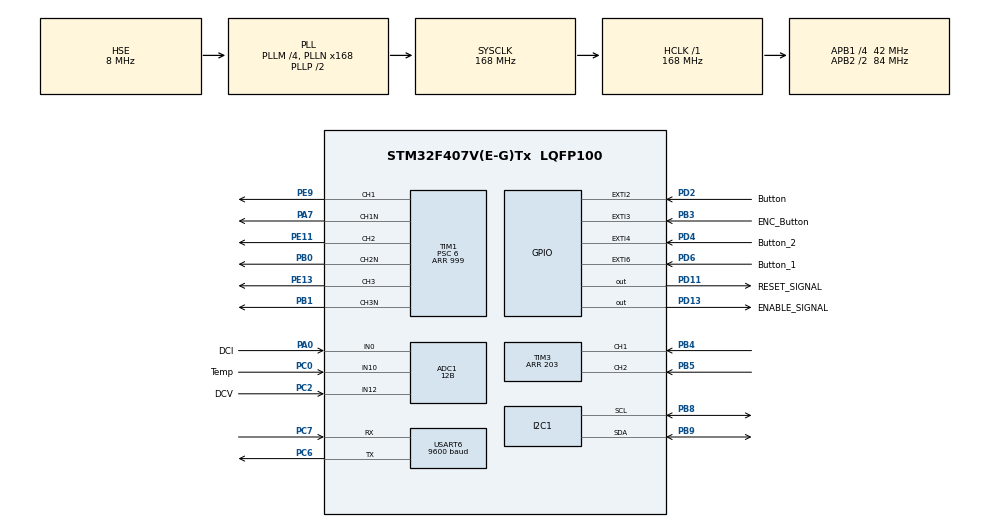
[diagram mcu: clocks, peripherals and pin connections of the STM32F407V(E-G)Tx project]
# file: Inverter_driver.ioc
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ADC1.Channel-0\#ChannelRegularConversion=ADC_CHANNEL_0
ADC1.Channel-1\#ChannelRegularConversion=ADC_CHANNEL_10
ADC1.Channel-2\#ChannelRegularConversion=ADC_CHANNEL_12
ADC1.ClockPrescaler=ADC_CLOCK_SYNC_PCLK_DIV8
ADC1.ContinuousConvMode=ENABLE
ADC1.DMAContinuousRequests=ENABLE
ADC1.DataAlign=ADC_DATAALIGN_RIGHT
ADC1.DiscontinuousConvMode=DISABLE
ADC1.EOCSelection=ADC_EOC_SEQ_CONV
ADC1.EnableAnalogWatchDog=false
ADC1.ExternalTrigConv=ADC_SOFTWARE_START
ADC1.ExternalTrigConvEdge=ADC_EXTERNALTRIGCONVEDGE_NONE
ADC1.InjNumberOfConversion=0
ADC1.NbrOfConversion=3
ADC1.NbrOfConversionFlag=1
ADC1.Rank-0\#ChannelRegularConversion=1
ADC1.Rank-1\#ChannelRegularConversion=2
ADC1.Rank-2\#ChannelRegularConversion=3
ADC1.Resolution=ADC_RESOLUTION_12B
ADC1.SamplingTime-0\#ChannelRegularConversion=ADC_SAMPLETIME_480CYCLES
ADC1.SamplingTime-1\#ChannelRegularConversion=ADC_SAMPLETIME_480CYCLES
ADC1.SamplingTime-2\#ChannelRegularConversion=ADC_SAMPLETIME_480CYCLES
ADC1.ScanConvMode=ENABLE
ADC1.master=1
Dma.ADC1.0.Direction=DMA_PERIPH_TO_MEMORY
Dma.ADC1.0.FIFOMode=DMA_FIFOMODE_DISABLE
Dma.ADC1.0.Instance=DMA2_Stream0
Dma.ADC1.0.MemDataAlignment=DMA_MDATAALIGN_HALFWORD
Dma.ADC1.0.MemInc=DMA_MINC_ENABLE
Dma.ADC1.0.Mode=DMA_CIRCULAR
Dma.ADC1.0.PeriphDataAlignment=DMA_PDATAALIGN_HALFWORD
Dma.ADC1.0.PeriphInc=DMA_PINC_DISABLE
Dma.ADC1.0.Priority=DMA_PRIORITY_LOW
Dma.Request0=ADC1
Dma.Request1=USART6_TX
Dma.Request2=USART6_RX
Dma.USART6_RX.2.Direction=DMA_PERIPH_TO_MEMORY
Dma.USART6_RX.2.FIFOMode=DMA_FIFOMODE_DISABLE
Dma.USART6_RX.2.Instance=DMA2_Stream1
Dma.USART6_RX.2.MemDataAlignment=DMA_MDATAALIGN_BYTE
Dma.USART6_RX.2.MemInc=DMA_MINC_ENABLE
Dma.USART6_RX.2.Mode=DMA_NORMAL
Dma.USART6_RX.2.PeriphDataAlignment=DMA_PDATAALIGN_BYTE
Dma.USART6_RX.2.PeriphInc=DMA_PINC_DISABLE
Dma.USART6_RX.2.Priority=DMA_PRIORITY_LOW
Dma.USART6_TX.1.Direction=DMA_MEMORY_TO_PERIPH
Dma.USART6_TX.1.FIFOMode=DMA_FIFOMODE_DISABLE
Dma.USART6_TX.1.Instance=DMA2_Stream6
Dma.USART6_TX.1.MemDataAlignment=DMA_MDATAALIGN_BYTE
Dma.USART6_TX.1.MemInc=DMA_MINC_ENABLE
Dma.USART6_TX.1.Mode=DMA_NORMAL
Dma.USART6_TX.1.PeriphDataAlignment=DMA_PDATAALIGN_BYTE
Dma.USART6_TX.1.PeriphInc=DMA_PINC_DISABLE
Dma.USART6_TX.1.Priority=DMA_PRIORITY_LOW
Mcu.Family=STM32F4
Mcu.Name=STM32F407V(E-G)Tx
Mcu.Package=LQFP100
NVIC.DMA2_Stream0_IRQn=true\:0\:0\:false\:false\:true\:false
NVIC.DMA2_Stream1_IRQn=true\:0\:0\:false\:false\:true\:false
NVIC.DMA2_Stream6_IRQn=true\:0\:0\:false\:false\:true\:false
NVIC.EXTI2_IRQn=true\:3\:0\:true\:false\:true\:true
NVIC.EXTI3_IRQn=true\:2\:0\:true\:false\:true\:true
NVIC.EXTI4_IRQn=true\:3\:0\:true\:false\:true\:true
NVIC.EXTI9_5_IRQn=true\:2\:0\:true\:false\:true\:true
NVIC.PriorityGroup=NVIC_PRIORITYGROUP_4
NVIC.TIM1_UP_TIM10_IRQn=true\:0\:0\:true\:false\:true\:true
NVIC.USART6_IRQn=true\:2\:0\:true\:false\:true\:true
PA0-WKUP.GPIO_Label=DCI
PA0-WKUP.Signal=ADCx_IN0
PA7.Mode=PWM Generation1 CH1 CH1N
PA7.Signal=TIM1_CH1N
PB0.Mode=PWM Generation2 CH2 CH2N
PB0.Signal=TIM1_CH2N
PB1.Mode=PWM Generation3 CH3 CH3N
PB1.Signal=TIM1_CH3N
PB3.GPIO_Label=ENC_Button
PB3.GPIO_PuPd=GPIO_PULLUP
PB3.Signal=GPXTI3
PB4.Signal=S_TIM3_CH1
PB5.Signal=S_TIM3_CH2
PB8.Mode=I2C
PB8.Signal=I2C1_SCL
PB9.Mode=I2C
PB9.Signal=I2C1_SDA
PC0.GPIO_Label=Temp
PC0.Signal=ADCx_IN10
PC2.GPIO_Label=DCV
PC2.Signal=ADCx_IN12
PC6.Mode=Asynchronous
PC6.Signal=USART6_TX
PC7.Mode=Asynchronous
PC7.Signal=USART6_RX
PD11.GPIO_Label=RESET_SIGNAL
PD11.Signal=GPIO_Output
PD13.GPIO_Label=ENABLE_SIGNAL
PD13.Signal=GPIO_Output
PD2.GPIO_Label=Button
PD2.GPIO_PuPd=GPIO_PULLUP
PD2.Signal=GPXTI2
PD4.GPIO_Label=Button_2
PD4.GPIO_PuPd=GPIO_PULLUP
PD4.Signal=GPXTI4
PD6.GPIO_Label=Button_1
PD6.GPIO_PuPd=GPIO_PULLUP
PD6.Signal=GPXTI6
PE11.Signal=S_TIM1_CH2
PE13.Signal=S_TIM1_CH3
PE9.Signal=S_TIM1_CH1
PH0-OSC_IN.Mode=HSE-External-Oscillator
PH0-OSC_IN.Signal=RCC_OSC_IN
PH1-OSC_OUT.Mode=HSE-External-Oscillator
PH1-OSC_OUT.Signal=RCC_OSC_OUT
ProjectManager.HeapSize=0x200
ProjectManager.StackSize=0x400
ProjectManager.TargetToolchain=SW4STM32
RCC.48MHZClocksFreq_Value=84000000
RCC.AHBFreq_Value=168000000
RCC.APB1CLKDivider=RCC_HCLK_DIV4
RCC.APB1Freq_Value=42000000
RCC.APB1TimFreq_Value=84000000
RCC.APB2CLKDivider=RCC_HCLK_DIV2
RCC.APB2Freq_Value=84000000
RCC.APB2TimFreq_Value=168000000
RCC.CortexFreq_Value=168000000
RCC.HCLKFreq_Value=168000000
RCC.HSE_VALUE=8000000
RCC.HSI_VALUE=16000000
RCC.LSE_VALUE=32768
RCC.PLLM=4
RCC.PLLN=168
RCC.PLLSourceVirtual=RCC_PLLSOURCE_HSE
RCC.SYSCLKFreq_VALUE=168000000
RCC.SYSCLKSource=RCC_SYSCLKSOURCE_PLLCLK
RCC.VCOOutputFreq_Value=336000000
SH.ADCx_IN0.0=ADC1_IN0,IN0
SH.ADCx_IN10.0=ADC1_IN10,IN10
SH.ADCx_IN12.0=ADC1_IN12,IN12
SH.S_TIM1_CH1.0=TIM1_CH1,PWM Generation1 CH1 CH1N
SH.S_TIM1_CH2.0=TIM1_CH2,PWM Generation2 CH2 CH2N
SH.S_TIM1_CH3.0=TIM1_CH3,PWM Generation3 CH3 CH3N
SH.S_TIM3_CH1.0=TIM3_CH1,Encoder_Interface
SH.S_TIM3_CH2.0=TIM3_CH2,Encoder_Interface
TIM1.Channel-PWM\ Generation1\ CH1\ CH1N=TIM_CHANNEL_1
TIM1.Channel-PWM\ Generation2\ CH2\ CH2N=TIM_CHANNEL_2
TIM1.Channel-PWM\ Generation3\ CH3\ CH3N=TIM_CHANNEL_3
TIM1.CounterMode=TIM_COUNTERMODE_CENTERALIGNED1
TIM1.DeadTime=200
TIM1.OCFastMode_PWM-PWM\ Generation1\ CH1\ CH1N=TIM_OCFAST_DISABLE
TIM1.OCFastMode_PWM-PWM\ Generation2\ CH2\ CH2N=TIM_OCFAST_DISABLE
TIM1.OCFastMode_PWM-PWM\ Generation3\ CH3\ CH3N=TIM_OCFAST_DISABLE
TIM1.Period=999
TIM1.Prescaler=6
TIM10.Period=199
TIM10.Prescaler=0
TIM3.EncoderMode=TIM_ENCODERMODE_TI12
TIM3.IC1Filter=15
TIM3.IC2Filter=15
TIM3.Period=203
USART6.BaudRate=9600
USART6.VirtualMode=VM_ASYNC
VP_TIM10_VS_ClockSourceINT.Mode=Enable_Timer
VP_TIM1_VS_ClockSourceINT.Mode=Internal
board=Projekt_zespolowy

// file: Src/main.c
/**
  ******************************************************************************
  * @file           : main.c
  * @brief          : Main program body
  ******************************************************************************
  ** This notice applies to any and all portions of this file
  * that are not between comment pairs USER CODE BEGIN and
  * USER CODE END. Other portions of this file, whether
  * inserted by the user or by software development tools
  * are owned by their respective copyright owners.
  *
  * COPYRIGHT(c) 2018 STMicroelectronics
  *
  * Redistribution and use in source and binary forms, with or without modification,
  * are permitted provided that the following conditions are met:
  *   1. Redistributions of source code must retain the above copyright notice,
  *      this list of conditions and the following disclaimer.
  *   2. Redistributions in binary form must reproduce the above copyright notice,
  *      this list of conditions and the following disclaimer in the documentation
  *      and/or other materials provided with the distribution.
  *   3. Neither the name of STMicroelectronics nor the names of its contributors
  *      may be used to endorse or promote products derived from this software
  *      without specific prior written permission.
  *
  * THIS SOFTWARE IS PROVIDED BY THE COPYRIGHT HOLDERS AND CONTRIBUTORS "AS IS"
  * AND ANY EXPRESS OR IMPLIED WARRANTIES, INCLUDING, BUT NOT LIMITED TO, THE
  * IMPLIED WARRANTIES OF MERCHANTABILITY AND FITNESS FOR A PARTICULAR PURPOSE ARE
  * DISCLAIMED. IN NO EVENT SHALL THE COPYRIGHT HOLDER OR CONTRIBUTORS BE LIABLE
  * FOR ANY DIRECT, INDIRECT, INCIDENTAL, SPECIAL, EXEMPLARY, OR CONSEQUENTIAL
  * DAMAGES (INCLUDING, BUT NOT LIMITED TO, PROCUREMENT OF SUBSTITUTE GOODS OR
  * SERVICES; LOSS OF USE, DATA, OR PROFITS; OR BUSINESS INTERRUPTION) HOWEVER
  * CAUSED AND ON ANY THEORY OF LIABILITY, WHETHER IN CONTRACT, STRICT LIABILITY,
  * OR TORT (INCLUDING NEGLIGENCE OR OTHERWISE) ARISING IN ANY WAY OUT OF THE USE
  * OF THIS SOFTWARE, EVEN IF ADVISED OF THE POSSIBILITY OF SUCH DAMAGE.
  *
  ******************************************************************************
  */
#include "main.h"
#include "stm32f4xx_hal.h"

/* USER CODE BEGIN Includes */
#include "Functions.h"
#include <math.h>
#include "i2c-lcd.h"
#include "stdlib.h"
#include "string.h"
/* USER CODE END Includes */

ADC_HandleTypeDef hadc1;
DMA_HandleTypeDef hdma_adc1;

I2C_HandleTypeDef hi2c1;

TIM_HandleTypeDef htim1;
TIM_HandleTypeDef htim3;
TIM_HandleTypeDef htim10;

UART_HandleTypeDef huart6;
DMA_HandleTypeDef hdma_usart6_tx;
DMA_HandleTypeDef hdma_usart6_rx;

/* USER CODE BEGIN PV */
/* Private variables ---------------------------------------------------------*/

///////////////////////////////////////
double  Rampa[120] = {0}, Rampa_U_do_F[120] = {0};
float boost_old = 99;

///////////////////////////////////////
volatile uint16_t pulse_count, positions;

float 	ma = 0, ma_old = 0, f = 0, f_old = 0, TIMEtoRAMPup = 5, TIMEtoRAMPdown = 5, deltaf = 0.1, boost = 0.25, RampL[501] = {0}, RampG[501] = {0};
int 	Usin[120] = {0}, UsinRAMPA[120] = {0}, Timer[501] = {0}, n1 = 0, fpom = 0,
		kierunekzad = 0, kierunek = 0, ksztalt = 0, fzad = 0, fzad_old = 0,
		ZP1 = 0, ZP2 = 0, ZP3 = 0, ZP4 = 0, y2 = 0, start = 0, y125 = 0, m = 0, n = 0;
uint8_t Received[8];

uint16_t Pomiary[3] = {0};
float Temp = 0, DCI = 0, DCV = 0, TABDCI[150] = {0};

char wartosc[5];

int menu[4] = {0,0,1,0};
int old_menu  =  0;
int old_menu_1 = 0;
int old_positions = 0;

float param[27];
float param_z = 0;

int przepisanie = 1;
int zapisano = 0;
int status = 0;
int czysc_ekran = 0;
int keylock = 0;

float min = 0, max = 0;
int res = 0;

float f_out = 0;
float f_zad = 0;

// wartosci parametrow
// kolejne elementy tablicy:
// nr parametru, wartosc domyslna, inkrementacja, min, max
float values[135] = {
				0, 3, 1, 1, 100,		// P101 czas rampy naras.
				1, 3, 1, 1, 100,		// P102 czas rampy opad.
				2, 0, 1, 0, 1,			// P103 typ rampy naras.
				3, 0, 1, 0, 1,			// P104 typ rampy opad.
				4, 0, 1, 0, 1,			// P105 tryb zatrzymania
				5, 100, 1, 50, 100,  	// P106 ograniczenie pradu
				6, 25, 1, 0, 100,		// P107 boost napieciowy
				7, 0, 1, 0, 1,			// P108 ksztalt U/f
				8, 1500, 50, 100, 3000,	// P109 predkosc obrotowa
				9, 0, 10, 0, 400,		// P110 napiecie
				10, 0, 1, 0, 50,   		// P111 f zadane
				11, 1, 0.1, 0.1, 1,   	// P112 inkremenctacja f zadane
				12, 0, 1, 0, 1,			// P113 kierunek obrotu
				13, 1, 0.1, 0.1, 1, 	// P201 moc silnika znam
				14, 400, 170, 230, 400,	// P202 napiecie znamionowe
				15, 3, 0.1, 0.1, 3.5,	// P203 prad znamionowy
				16, 1500, 50, 100, 3000,// P204 predkosc obrotowa znamionowa
				17, 1, 1, 0, 10,		// P205 Rs rezystancja stojana
				18, 1, 1, 0, 10,		// P206 Rr rezystancja wirnika
				19, 1, 1, 0, 10,		// P207 Ls indukcyjnosc rozproszzenia stojana
				20, 1, 1, 0, 10,		// P208 Lr indukcyjnosc rozproszenia wirnika
				21, 1, 1, 0, 10,		// P209 Lm indukcyjnosc magnesowania
				22, 2, 1, 1, 3, 		// P210 p liczba par biegunow
				23, 50, 1, 0, 50,		// P211 f znam.
				24, 0, 1, 0, 49,		// P212 f min
				25, 50, 1, 0, 50,		// P213 f max
				26, 0.80, 0.01, 0.50, 1 // P214 cosinus fi
};

/////////////////drganie stykow/////////////////////////
union {		//do obs³ugi przycisków -> w przerwaniu ISR
 struct {
  unsigned char Button:1;	//LSB
  unsigned char ENC_Button:1;
  unsigned char Button_1:1;
  unsigned char Button_2:1;
  unsigned char Button_PREV:1;
  unsigned char ENC_Button_PREV:1;
  unsigned char Button_1_PREV:1;
  unsigned char Button_2_PREV:1;
 } flags;
  char byte;
} key;

union {		//do obs³ugi przycisków -> w przerwaniu ISR
 struct {
  unsigned char Button:1;	   //LSB
  unsigned char ENC_Button:1;
  unsigned char Button_1:1;
  unsigned char Button_2:1;
  unsigned char Button_PREV:1;
  unsigned char ENC_Button_PREV:1;
  unsigned char Button_1_PREV:1;
  unsigned char Button_2_PREV:1;
  unsigned char Button_PREV1:1;
  unsigned char ENC_Button_PREV1:1;
  unsigned char Button_1_PREV1:1;
  unsigned char Button_2_PREV1:1;
  unsigned char Button_PREV2:1;
  unsigned char ENC_Button_PREV2:1;
  unsigned char Button_1_PREV2:1;
  unsigned char Button_2_PREV2:1;
  unsigned char Button_PREV3:1;
  unsigned char ENC_Button_PREV3:1;
  unsigned char Button_1_PREV3:1;
  unsigned char Button_2_PREV3:1;
  unsigned char Button_PREV4:1;
  unsigned char ENC_Button_PREV4:1;
  unsigned char Button_1_PREV4:1;
  unsigned char Button_2_PREV4:1;
  unsigned char Button_PREV5:1;
  unsigned char ENC_Button_PREV5:1;
  unsigned char Button_1_PREV5:1;
  unsigned char Button_2_PREV5:1;
  unsigned char Button_PREV6:1;
  unsigned char ENC_Button_PREV6:1;
  unsigned char Button_1_PREV6:1;
  unsigned char Button_2_PREV6:1;
  } flags;
  int word;
} falling_slope;
/* USER CODE END PV */

void SystemClock_Config(void);
static void MX_GPIO_Init(void);
static void MX_DMA_Init(void);
static void MX_TIM10_Init(void);
static void MX_TIM1_Init(void);
static void MX_USART6_UART_Init(void);
static void MX_TIM3_Init(void);
static void MX_I2C1_Init(void);
static void MX_ADC1_Init(void);

void HAL_TIM_MspPostInit(TIM_HandleTypeDef *htim);

/* USER CODE BEGIN PFP */
/* Private function prototypes -----------------------------------------------*/
void HAL_UART_RxCpltCallback(UART_HandleTypeDef *huart);

void reverse(char *str, int len);
int intToStr(int x, char str[], int d);
void ftoa(float n, char *res, int afterpoint);
void clr_scr();
void ustaw_parametr(char param[], int resolution, char unit[]);
void pokaz_param(char nr_parametru[], char description[], int resolution);
void set_default(int il_param);
void enkoder();
void menu_LCD();
/* USER CODE END PFP */

int main(void)
{

  /* MCU Configuration----------------------------------------------------------*/

  /* Reset of all peripherals, Initializes the Flash interface and the Systick. */
  HAL_Init();

  /* Configure the system clock */
  SystemClock_Config();

  /* Initialize all configured peripherals */
  MX_GPIO_Init();
  MX_DMA_Init();
  MX_TIM10_Init();
  MX_TIM1_Init();
  MX_USART6_UART_Init();
  MX_TIM3_Init();
  MX_I2C1_Init();
  MX_ADC1_Init();
  /* USER CODE BEGIN 2 */
  HAL_TIM_Encoder_Start(&htim3, TIM_CHANNEL_ALL);
  HAL_TIM_Base_Start_IT(&htim10);

  set_default(27);
  TworzenieSIN(Usin, 120);
  SkalowanieF(Timer, 500, 68);
  Tworzenie_Rampy(Rampa, &boost_old, 120);
  RampaGladkaMA(boost, RampG);
  RampaLiniowaMA(boost, RampL);

  lcd_init();
  HAL_Delay(5);

  HAL_ADC_Start_DMA(&hadc1, Pomiary, 3);
  HAL_UART_Receive_DMA(&huart6, Received, 8);
  /* USER CODE END 2 */

  /* Infinite loop */
  /* USER CODE BEGIN WHILE */
  while (1)
  {
	  if(keylock == 1 && HAL_GPIO_ReadPin(ENC_Button_GPIO_Port, ENC_Button_Pin) == GPIO_PIN_RESET)
		  keylock = 0;
	  if(keylock == 1 && HAL_GPIO_ReadPin(Button_GPIO_Port, Button_Pin) == GPIO_PIN_RESET)
		  keylock = 0;

	  pulse_count = TIM3 -> CNT;
	  positions = pulse_count / 2;

	  if((param[10] > 0) && (f == 0))
	  {
		  HAL_GPIO_WritePin(RESET_SIGNAL_GPIO_Port, RESET_SIGNAL_Pin, SET);
		  HAL_Delay(1);
		  HAL_GPIO_WritePin(RESET_SIGNAL_GPIO_Port, RESET_SIGNAL_Pin, RESET);
		  HAL_Delay(1);
		  HAL_TIM_PWM_Start(&htim1, TIM_CHANNEL_1);
		  HAL_TIMEx_PWMN_Start(&htim1, TIM_CHANNEL_1);
		  HAL_TIM_PWM_Start(&htim1, TIM_CHANNEL_2);
		  HAL_TIMEx_PWMN_Start(&htim1, TIM_CHANNEL_2);
		  HAL_TIM_PWM_Start(&htim1, TIM_CHANNEL_3);
		  HAL_TIMEx_PWMN_Start(&htim1, TIM_CHANNEL_3);
		  start = 1;
	  }

	  if((param[10] == 0) && ( f== 0))
	  {
		  start = 0;
		  HAL_TIM_PWM_Stop(&htim1, TIM_CHANNEL_1);
		  HAL_TIMEx_PWMN_Stop(&htim1, TIM_CHANNEL_1);
		  HAL_TIM_PWM_Stop(&htim1, TIM_CHANNEL_2);
		  HAL_TIMEx_PWMN_Stop(&htim1, TIM_CHANNEL_2);
		  HAL_TIM_PWM_Stop(&htim1, TIM_CHANNEL_3);
		  HAL_TIMEx_PWMN_Stop(&htim1, TIM_CHANNEL_3);
	  }

	  clr_scr();
	  enkoder();
	  menu_LCD();
  /* USER CODE END WHILE */

  /* USER CODE BEGIN 3 */

  }

  return 0;
  /* USER CODE END 3 */

}

void SystemClock_Config(void)
{

  RCC_OscInitTypeDef RCC_OscInitStruct;
  RCC_ClkInitTypeDef RCC_ClkInitStruct;

    /**Configure the main internal regulator output voltage
    */
  __HAL_RCC_PWR_CLK_ENABLE();

  __HAL_PWR_VOLTAGESCALING_CONFIG(PWR_REGULATOR_VOLTAGE_SCALE1);

    /**Initializes the CPU, AHB and APB busses clocks
    */
  RCC_OscInitStruct.OscillatorType = RCC_OSCILLATORTYPE_HSE;
  RCC_OscInitStruct.HSEState = RCC_HSE_ON;
  RCC_OscInitStruct.PLL.PLLState = RCC_PLL_ON;
  RCC_OscInitStruct.PLL.PLLSource = RCC_PLLSOURCE_HSE;
  RCC_OscInitStruct.PLL.PLLM = 4;
  RCC_OscInitStruct.PLL.PLLN = 168;
  RCC_OscInitStruct.PLL.PLLP = RCC_PLLP_DIV2;
  RCC_OscInitStruct.PLL.PLLQ = 4;
  if (HAL_RCC_OscConfig(&RCC_OscInitStruct) != HAL_OK)
  {
    _Error_Handler(__FILE__, __LINE__);
  }

    /**Initializes the CPU, AHB and APB busses clocks
    */
  RCC_ClkInitStruct.ClockType = RCC_CLOCKTYPE_HCLK|RCC_CLOCKTYPE_SYSCLK
                              |RCC_CLOCKTYPE_PCLK1|RCC_CLOCKTYPE_PCLK2;
  RCC_ClkInitStruct.SYSCLKSource = RCC_SYSCLKSOURCE_PLLCLK;
  RCC_ClkInitStruct.AHBCLKDivider = RCC_SYSCLK_DIV1;
  RCC_ClkInitStruct.APB1CLKDivider = RCC_HCLK_DIV4;
  RCC_ClkInitStruct.APB2CLKDivider = RCC_HCLK_DIV2;

  if (HAL_RCC_ClockConfig(&RCC_ClkInitStruct, FLASH_LATENCY_5) != HAL_OK)
  {
    _Error_Handler(__FILE__, __LINE__);
  }

    /**Configure the Systick interrupt time
    */
  HAL_SYSTICK_Config(HAL_RCC_GetHCLKFreq()/1000);

    /**Configure the Systick
    */
  HAL_SYSTICK_CLKSourceConfig(SYSTICK_CLKSOURCE_HCLK);

  /* SysTick_IRQn interrupt configuration */
  HAL_NVIC_SetPriority(SysTick_IRQn, 0, 0);
}

/* ADC1 init function */
static void MX_ADC1_Init(void)
{

  ADC_ChannelConfTypeDef sConfig;

    /**Configure the global features of the ADC (Clock, Resolution, Data Alignment and number of conversion)
    */
  hadc1.Instance = ADC1;
  hadc1.Init.ClockPrescaler = ADC_CLOCK_SYNC_PCLK_DIV8;
  hadc1.Init.Resolution = ADC_RESOLUTION_12B;
  hadc1.Init.ScanConvMode = ENABLE;
  hadc1.Init.ContinuousConvMode = ENABLE;
  hadc1.Init.DiscontinuousConvMode = DISABLE;
  hadc1.Init.ExternalTrigConvEdge = ADC_EXTERNALTRIGCONVEDGE_NONE;
  hadc1.Init.ExternalTrigConv = ADC_SOFTWARE_START;
  hadc1.Init.DataAlign = ADC_DATAALIGN_RIGHT;
  hadc1.Init.NbrOfConversion = 3;
  hadc1.Init.DMAContinuousRequests = ENABLE;
  hadc1.Init.EOCSelection = ADC_EOC_SEQ_CONV;
  if (HAL_ADC_Init(&hadc1) != HAL_OK)
  {
    _Error_Handler(__FILE__, __LINE__);
  }

    /**Configure for the selected ADC regular channel its corresponding rank in the sequencer and its sample time.
    */
  sConfig.Channel = ADC_CHANNEL_0;
  sConfig.Rank = 1;
  sConfig.SamplingTime = ADC_SAMPLETIME_480CYCLES;
  if (HAL_ADC_ConfigChannel(&hadc1, &sConfig) != HAL_OK)
  {
    _Error_Handler(__FILE__, __LINE__);
  }

    /**Configure for the selected ADC regular channel its corresponding rank in the sequencer and its sample time.
    */
  sConfig.Channel = ADC_CHANNEL_10;
  sConfig.Rank = 2;
  if (HAL_ADC_ConfigChannel(&hadc1, &sConfig) != HAL_OK)
  {
    _Error_Handler(__FILE__, __LINE__);
  }

    /**Configure for the selected ADC regular channel its corresponding rank in the sequencer and its sample time.
    */
  sConfig.Channel = ADC_CHANNEL_12;
  sConfig.Rank = 3;
  if (HAL_ADC_ConfigChannel(&hadc1, &sConfig) != HAL_OK)
  {
    _Error_Handler(__FILE__, __LINE__);
  }

}

/* I2C1 init function */
static void MX_I2C1_Init(void)
{

  hi2c1.Instance = I2C1;
  hi2c1.Init.ClockSpeed = 100000;
  hi2c1.Init.DutyCycle = I2C_DUTYCYCLE_2;
  hi2c1.Init.OwnAddress1 = 0;
  hi2c1.Init.AddressingMode = I2C_ADDRESSINGMODE_7BIT;
  hi2c1.Init.DualAddressMode = I2C_DUALADDRESS_DISABLE;
  hi2c1.Init.OwnAddress2 = 0;
  hi2c1.Init.GeneralCallMode = I2C_GENERALCALL_DISABLE;
  hi2c1.Init.NoStretchMode = I2C_NOSTRETCH_DISABLE;
  if (HAL_I2C_Init(&hi2c1) != HAL_OK)
  {
    _Error_Handler(__FILE__, __LINE__);
  }

}

/* TIM1 init function */
static void MX_TIM1_Init(void)
{

  TIM_ClockConfigTypeDef sClockSourceConfig;
  TIM_MasterConfigTypeDef sMasterConfig;
  TIM_OC_InitTypeDef sConfigOC;
  TIM_BreakDeadTimeConfigTypeDef sBreakDeadTimeConfig;

  htim1.Instance = TIM1;
  htim1.Init.Prescaler = 139;
  htim1.Init.CounterMode = TIM_COUNTERMODE_UP;
  htim1.Init.Period = 199;
  htim1.Init.ClockDivision = TIM_CLOCKDIVISION_DIV1;
  htim1.Init.RepetitionCounter = 0;
  if (HAL_TIM_Base_Init(&htim1) != HAL_OK)
  {
    _Error_Handler(__FILE__, __LINE__);
  }

  sClockSourceConfig.ClockSource = TIM_CLOCKSOURCE_INTERNAL;
  if (HAL_TIM_ConfigClockSource(&htim1, &sClockSourceConfig) != HAL_OK)
  {
    _Error_Handler(__FILE__, __LINE__);
  }

  if (HAL_TIM_PWM_Init(&htim1) != HAL_OK)
  {
    _Error_Handler(__FILE__, __LINE__);
  }

  sMasterConfig.MasterOutputTrigger = TIM_TRGO_RESET;
  sMasterConfig.MasterSlaveMode = TIM_MASTERSLAVEMODE_DISABLE;
  if (HAL_TIMEx_MasterConfigSynchronization(&htim1, &sMasterConfig) != HAL_OK)
  {
    _Error_Handler(__FILE__, __LINE__);
  }

  sConfigOC.OCMode = TIM_OCMODE_PWM1;
  sConfigOC.Pulse = 0;
  sConfigOC.OCPolarity = TIM_OCPOLARITY_HIGH;
  sConfigOC.OCNPolarity = TIM_OCNPOLARITY_HIGH;
  sConfigOC.OCFastMode = TIM_OCFAST_DISABLE;
  sConfigOC.OCIdleState = TIM_OCIDLESTATE_RESET;
  sConfigOC.OCNIdleState = TIM_OCNIDLESTATE_RESET;
  if (HAL_TIM_PWM_ConfigChannel(&htim1, &sConfigOC, TIM_CHANNEL_1) != HAL_OK)
  {
    _Error_Handler(__FILE__, __LINE__);
  }

  if (HAL_TIM_PWM_ConfigChannel(&htim1, &sConfigOC, TIM_CHANNEL_2) != HAL_OK)
  {
    _Error_Handler(__FILE__, __LINE__);
  }

  if (HAL_TIM_PWM_ConfigChannel(&htim1, &sConfigOC, TIM_CHANNEL_3) != HAL_OK)
  {
    _Error_Handler(__FILE__, __LINE__);
  }

  sBreakDeadTimeConfig.OffStateRunMode = TIM_OSSR_DISABLE;
  sBreakDeadTimeConfig.OffStateIDLEMode = TIM_OSSI_DISABLE;
  sBreakDeadTimeConfig.LockLevel = TIM_LOCKLEVEL_OFF;
  sBreakDeadTimeConfig.DeadTime = 200;
  sBreakDeadTimeConfig.BreakState = TIM_BREAK_DISABLE;
  sBreakDeadTimeConfig.BreakPolarity = TIM_BREAKPOLARITY_HIGH;
  sBreakDeadTimeConfig.AutomaticOutput = TIM_AUTOMATICOUTPUT_DISABLE;
  if (HAL_TIMEx_ConfigBreakDeadTime(&htim1, &sBreakDeadTimeConfig) != HAL_OK)
  {
    _Error_Handler(__FILE__, __LINE__);
  }

  HAL_TIM_MspPostInit(&htim1);

}

/* TIM3 init function */
static void MX_TIM3_Init(void)
{

  TIM_Encoder_InitTypeDef sConfig;
  TIM_MasterConfigTypeDef sMasterConfig;

  htim3.Instance = TIM3;
  htim3.Init.Prescaler = 0;
  htim3.Init.CounterMode = TIM_COUNTERMODE_UP;
  htim3.Init.Period = 201;
  htim3.Init.ClockDivision = TIM_CLOCKDIVISION_DIV1;
  sConfig.EncoderMode = TIM_ENCODERMODE_TI12;
  sConfig.IC1Polarity = TIM_ICPOLARITY_RISING;
  sConfig.IC1Selection = TIM_ICSELECTION_DIRECTTI;
  sConfig.IC1Prescaler = TIM_ICPSC_DIV1;
  sConfig.IC1Filter = 15;
  sConfig.IC2Polarity = TIM_ICPOLARITY_RISING;
  sConfig.IC2Selection = TIM_ICSELECTION_DIRECTTI;
  sConfig.IC2Prescaler = TIM_ICPSC_DIV1;
  sConfig.IC2Filter = 15;
  if (HAL_TIM_Encoder_Init(&htim3, &sConfig) != HAL_OK)
  {
    _Error_Handler(__FILE__, __LINE__);
  }

  sMasterConfig.MasterOutputTrigger = TIM_TRGO_RESET;
  sMasterConfig.MasterSlaveMode = TIM_MASTERSLAVEMODE_DISABLE;
  if (HAL_TIMEx_MasterConfigSynchronization(&htim3, &sMasterConfig) != HAL_OK)
  {
    _Error_Handler(__FILE__, __LINE__);
  }

}

/* TIM10 init function */
static void MX_TIM10_Init(void)
{

  htim10.Instance = TIM10;
  htim10.Init.Prescaler = 0;
  htim10.Init.CounterMode = TIM_COUNTERMODE_UP;
  htim10.Init.Period = 199;
  htim10.Init.ClockDivision = TIM_CLOCKDIVISION_DIV1;
  if (HAL_TIM_Base_Init(&htim10) != HAL_OK)
  {
    _Error_Handler(__FILE__, __LINE__);
  }

}

/* USART6 init function */
static void MX_USART6_UART_Init(void)
{

  huart6.Instance = USART6;
  huart6.Init.BaudRate = 9600;
  huart6.Init.WordLength = UART_WORDLENGTH_8B;
  huart6.Init.StopBits = UART_STOPBITS_1;
  huart6.Init.Parity = UART_PARITY_NONE;
  huart6.Init.Mode = UART_MODE_TX_RX;
  huart6.Init.HwFlowCtl = UART_HWCONTROL_NONE;
  huart6.Init.OverSampling = UART_OVERSAMPLING_16;
  if (HAL_UART_Init(&huart6) != HAL_OK)
  {
    _Error_Handler(__FILE__, __LINE__);
  }

}

static void MX_DMA_Init(void)
{
  /* DMA controller clock enable */
  __HAL_RCC_DMA2_CLK_ENABLE();

  /* DMA interrupt init */
  /* DMA2_Stream0_IRQn interrupt configuration */
  HAL_NVIC_SetPriority(DMA2_Stream0_IRQn, 0, 0);
  HAL_NVIC_EnableIRQ(DMA2_Stream0_IRQn);
  /* DMA2_Stream1_IRQn interrupt configuration */
  HAL_NVIC_SetPriority(DMA2_Stream1_IRQn, 0, 0);
  HAL_NVIC_EnableIRQ(DMA2_Stream1_IRQn);
  /* DMA2_Stream6_IRQn interrupt configuration */
  HAL_NVIC_SetPriority(DMA2_Stream6_IRQn, 0, 0);
  HAL_NVIC_EnableIRQ(DMA2_Stream6_IRQn);

}

/** Configure pins as
        * Analog
        * Input
        * Output
        * EVENT_OUT
        * EXTI
*/
static void MX_GPIO_Init(void)
{

  GPIO_InitTypeDef GPIO_InitStruct;

  /* GPIO Ports Clock Enable */
  __HAL_RCC_GPIOH_CLK_ENABLE();
  __HAL_RCC_GPIOC_CLK_ENABLE();
  __HAL_RCC_GPIOA_CLK_ENABLE();
  __HAL_RCC_GPIOB_CLK_ENABLE();
  __HAL_RCC_GPIOE_CLK_ENABLE();
  __HAL_RCC_GPIOD_CLK_ENABLE();

  /*Configure GPIO pin Output Level */
  HAL_GPIO_WritePin(GPIOD, RESET_SIGNAL_Pin|ENABLE_SIGNAL_Pin, GPIO_PIN_RESET);

  /*Configure GPIO pins : RESET_SIGNAL_Pin ENABLE_SIGNAL_Pin */
  GPIO_InitStruct.Pin = RESET_SIGNAL_Pin|ENABLE_SIGNAL_Pin;
  GPIO_InitStruct.Mode = GPIO_MODE_OUTPUT_PP;
  GPIO_InitStruct.Pull = GPIO_NOPULL;
  GPIO_InitStruct.Speed = GPIO_SPEED_FREQ_LOW;
  HAL_GPIO_Init(GPIOD, &GPIO_InitStruct);

  /*Configure GPIO pins : Button_Pin Button_2_Pin Button_1_Pin */
  GPIO_InitStruct.Pin = Button_Pin|Button_2_Pin|Button_1_Pin;
  GPIO_InitStruct.Mode = GPIO_MODE_IT_RISING;
  GPIO_InitStruct.Pull = GPIO_PULLUP;
  HAL_GPIO_Init(GPIOD, &GPIO_InitStruct);

  /*Configure GPIO pin : ENC_Button_Pin */
  GPIO_InitStruct.Pin = ENC_Button_Pin;
  GPIO_InitStruct.Mode = GPIO_MODE_IT_RISING;
  GPIO_InitStruct.Pull = GPIO_PULLUP;
  HAL_GPIO_Init(ENC_Button_GPIO_Port, &GPIO_InitStruct);

  /* EXTI interrupt init*/
  HAL_NVIC_SetPriority(EXTI2_IRQn, 0, 0);
  HAL_NVIC_EnableIRQ(EXTI2_IRQn);

  HAL_NVIC_SetPriority(EXTI3_IRQn, 0, 0);
  HAL_NVIC_EnableIRQ(EXTI3_IRQn);

  HAL_NVIC_SetPriority(EXTI4_IRQn, 0, 0);
  HAL_NVIC_EnableIRQ(EXTI4_IRQn);

  HAL_NVIC_SetPriority(EXTI9_5_IRQn, 0, 0);
  HAL_NVIC_EnableIRQ(EXTI9_5_IRQn);

}

/* USER CODE BEGIN 4 */
void clr_scr()
{
	if((old_positions != positions) || czysc_ekran == 1)
	{
		// czyszczenie ekranu po ruchu enkodera
		HAL_Delay(1);
		lcd_send_cmd(0x01);
		HAL_Delay(2);
		czysc_ekran = 0;
	}
}

void pokaz_param(char nr_parametru[], char description[], int resolution)
{
	lcd_send_cmd(0x80);
	lcd_send_string(nr_parametru);
	lcd_send_cmd(0x87);
	lcd_send_string("val:");
	strcpy(wartosc, " ");
	ftoa(param[menu[2] - 1], wartosc, resolution);
	lcd_send_string(wartosc);
	lcd_send_cmd(0xc0);
	lcd_send_string(description);
}

void ustaw_parametr(char param[], int resolution, char unit[])
{
	lcd_send_cmd(0x80);
	lcd_send_string(param);
	ftoa(param_z, wartosc, resolution);
	res = resolution;
	lcd_send_string(wartosc);
	lcd_send_cmd(0xcA);
	lcd_send_string(unit);
	min=values[3 + ((menu[2] - 1) * 5)];
	max=values[4 + ((menu[2] - 1) * 5)];
}

void set_default(int il_param)
{
  //wpisanie wartosci domyslnych
	// il_param - ilosc parametrow
	for(int i = 0; i <= il_param - 1; i++){
	  param[i] = values[1 + (i * 5)];
  }
}

void enkoder()
{
	  //wykrywanie obrotu enkodera lewo/prawo

	  if(menu[0] == 0 && old_positions > positions)
	  {
 		  menu[1]--;
 		  if(old_positions == 100 && positions == 0)
 			  menu[1]--;
	  }

	  else if(menu[0] == 0 && old_positions < positions)
	  {
 		  menu[1]++;
 		  if(old_positions == 0 && positions == 100)
 			  menu[1]++;
	  }

	  if(menu[1] < 0) menu[1] = 1;
	  if(menu[1] > 1) menu[1] = 0;

	  if(menu[0] == 1 && old_positions > positions)
	  {
 		  menu[2]--;
 		  if(old_positions == 100 && positions == 0)
 			  menu[2] = menu[2] + 2;
	  }

	  else if(menu[0] == 1 && old_positions < positions)
	  {
 		  menu[2]++;
 		  if(old_positions == 0 && positions == 100)
 			  menu[2] = menu[2] - 2;
	  }

	  if(menu[2] < 1) menu[2] = 1;
	  if(menu[2] > 26) menu[2] = 26;

	  if(menu[0] == 2 && old_positions > positions)
	  {
		  	  if(menu[2] == 11)
		  		  param_z = param_z - param[11];
		  	  else
	 		  param_z = param_z - values[2 + (5 * (menu[2] - 1))];
	 		  if(old_positions == 100 && positions == 0)
	 			  param_z = param_z + 2 * values[2 + (5 * (menu[2] - 1))];
	 		  if(param_z < min) param_z = min;
	  }

	  else if(menu[0] == 2 && old_positions < positions)
	  {
	  	  	  if(menu[2] == 11)
	  	  		  param_z = param_z + param[11];
	  	  	  else
		  	  param_z = param_z + values[2 + (5 * (menu[2] - 1))];
	 		  if(old_positions == 0 && positions == 100)
	 			  param_z = param_z - 2 * values[2 + (5 * (menu[2]-1))];
	 		  if(param_z > max) param_z = max;

	  }

	  if(menu[0] == 3 && old_positions > positions)
	  {
 		  f_zad--;
 		  if(old_positions == 100 && positions == 0)
 			  f_zad = f_zad + 2;
	  }

	  else if(menu[0] == 3 && old_positions < positions)
	  {
 		  f_zad++;
 		  if(old_positions == 0 && positions == 100)
 			  f_zad = f_zad - 2;
	  }
	  if(f_zad < param[24]) f_zad = param[24];
	  if(f_zad > param[25]) f_zad = param[25];

	  old_positions = positions;

	  // zapis nastawionej wartosci parametru(nie da sie w przerwaniu tego zrobic bo przerwanie nie ogarnia)
	  if(zapisano == 1)
	  {
		  lcd_send_cmd(0x80);
		  lcd_send_string("    Zapisano!");
		  param[old_menu_1 - 1] = param_z;
		  lcd_send_cmd(0xc0);
		  ftoa(param[old_menu_1 - 1], wartosc, res);
		  lcd_send_string(" value= ");
		  lcd_send_string(wartosc);
		  HAL_Delay(1500);
		  czysc_ekran = 1;
		  menu[0] = 1;
		  HAL_Delay(20);
		  menu[2] = old_menu_1;
		  zapisano = 0;
	  }

}

void menu_LCD()
{
	  // realizacja kolejnych stopni menu
	  if(menu[0] == 0)
	  {

		  switch(menu[1])
		  {
		  	  case 0:
		  	  {
		  		lcd_send_cmd(0x80);
		  		lcd_send_string(">");
		  		break;
		  	  }
		  	  case 1:
		  	  {
		  		lcd_send_cmd(0xc0);
		  		lcd_send_string(">");
		  		break;
		  	  }
		  }
		  przepisanie = 1;
		  lcd_send_cmd(0x81);
		  lcd_send_string("Menu   Stan:");
		  if(status == 0) lcd_send_string("WYL");
		  if(status == 1) lcd_send_string("WL");
		  lcd_send_cmd(0xc1);
		  lcd_send_string("Pomiary");

	  }
	  // dzialanie lokalne(silnik ON)
	  if(menu[0] == 3)
	  {

		  if(przepisanie == 1){
			  f_zad = param[10];
			  f_out = f_zad;
			  przepisanie = 0;
		  }
		  strcpy(wartosc, " ");
		  lcd_send_cmd(0x80);
		  lcd_send_string("f_zad=");
		  ftoa(f_zad, wartosc, 0);
		  lcd_send_string(wartosc);
		  lcd_send_string(" Hz");
		  lcd_send_cmd(0x8d);
		  lcd_send_string("WL");
		  lcd_send_cmd(0xc0);
		  strcpy(wartosc, " ");
		  f_out = fpom / 10;
		  ftoa(f_out, wartosc, 0);
		  lcd_send_string("f_out=");
		  lcd_send_string(wartosc);
		  lcd_send_string(" Hz");
	  }

	  // pomiary

	  if(menu[0]==4)
	  {
		  lcd_send_cmd(0x80);
		  lcd_send_string("T:");
		  ftoa(Temp, wartosc, 0);
		  lcd_send_string(wartosc);
		  lcd_send_string("C");
		  lcd_send_cmd(0xc0);
		  lcd_send_string("DCV:");
		  ftoa(DCV, wartosc, 0);
		  lcd_send_string(wartosc);
		  lcd_send_string("V");
		  lcd_send_cmd(0x87);
		  lcd_send_string("DCI:");
		  ftoa(fabs(DCI), wartosc, 0);
		  lcd_send_string(wartosc);
		  lcd_send_string("mA");
	  }

	  if(menu[0] == 1)
	  {
		  przepisanie = 1;
		  switch(menu[2])
		  {
			  case 1:
			  {
				  pokaz_param("P101", "t rampy nar.", 0);
				  break;
			  }
			  case 2:
			  {
				  pokaz_param("P102", "t rampy opad.", 0);
				  break;
			  }
			  case 3:
			  {
				  pokaz_param("P103", "Rampa nar.", 0);
				  break;
			  }
			  case 4:
			  {
				  pokaz_param("P104","Rampa opad.",0);
				  break;
			  }
			  case 5:
			  {
				  pokaz_param("P105","Tryb zatrzym.",0);
				  break;
			  }
			  case 6:
			  {
				  pokaz_param("P106","Ogr. pradu",0);
				  break;
			  }
			  case 7:
			  {
				  pokaz_param("P107","Boost nap.",0);
				  break;
			  }
			  case 8:
			  {
				  pokaz_param("P108","Ksztalt U/f",0);
				  break;
			  }
			  case 9:
			  {
				  pokaz_param("P109","Pr. obrot. zad",0);
				  break;
			  }
			  case 10:
			  {
				  pokaz_param("P110","Napiecie zad",0);
				  break;
			  }
			  case 11:
			  {
				  pokaz_param("P111","f zadane",1);
				  break;
			  }
			  case 12:
			  {
				  pokaz_param("P112","inkr. f zad",1);
				  break;
			  }
			  case 13:
			  {
				  pokaz_param("P113","Kier. obrotu",0);
				  break;
			  }
			  case 14:
			  {
				  pokaz_param("P201","Moc znam.",1);
				  break;
			  }
			  case 15:
			  {
				  pokaz_param("P202","U znam.",0);
				  break;
			  }
			  case 16:
			  {
				  pokaz_param("P203","Prad znam.",1);
				  break;
			  }
			  case 17:
			  {
				  pokaz_param("P204","Pred. znam.",0);
				  break;
			  }
			  case 18:
			  {
				  pokaz_param("P205","Rs",0);
				  break;
			  }
			  case 19:
			  {
				  pokaz_param("P206","Rr",0);
				  break;
			  }
			  case 20:
			  {
				  pokaz_param("P207","Ls",0);
				  break;
			  }
			  case 21:
			  {
				  pokaz_param("P208","Lr",0);
				  break;
			  }
			  case 22:
			  {
				  pokaz_param("P209","Lm",0);
				  break;
			  }
			  case 23:
			  {
				  pokaz_param("P210","par biegunow",0);
				  break;
			  }
			  case 24:
			  {
				  pokaz_param("P211","f znam.",0);
				  break;
			  }
			  case 25:
			  {
				  pokaz_param("P212","f min",0);
				  break;
			  }
			  case 26:
			  {
				  pokaz_param("P213","f max",0);
				  break;
			  }
			  case 27:
			  {
				  pokaz_param("P214","cos fi",2);
				  break;
			  }
		  }
	  }

	  if(menu[0] == 2)
	  {
		  old_menu_1 = menu[2];
		  if(przepisanie == 1)
		  {
		  param_z = param[old_menu_1 - 1];
		  przepisanie = 0;
		  }
		  switch(old_menu_1)
		  {
			  case 1:
			  {
				  ustaw_parametr("Ustaw P101:",0,"[s]");
				  break;
			  }
			  case 2:
			  {
				  ustaw_parametr("Ustaw P102:",0,"[s]");
				  break;
			  }
			  case 3:
			  {
				  ustaw_parametr("Ustaw P103:",0,"");
				  break;
			  }
			  case 4:
			  {
				  ustaw_parametr("Ustaw P104:",0,"");
				  break;
			  }
			  case 5:
			  {
				  ustaw_parametr("Ustaw P105:",0,"");
				  break;
			  }
			  case 6:
			  {
				  ustaw_parametr("Ustaw P106:",0,"[%]");
				  break;
			  }
			  case 7:
			  {
				  ustaw_parametr("Ustaw P107:",0,"[%]");
				  break;
			  }
			  case 8:
			  {
				  ustaw_parametr("Ustaw P108:",0,"");
				  break;
			  }
			  case 9:
			  {
				  ustaw_parametr("Ustaw P109:",0,"[obr/m]");
				  break;
			  }
			  case 10:
			  {
				  ustaw_parametr("Ustaw P110:",0,"[V]");
				  break;
			  }
			  case 11:
			  {
				  ustaw_parametr("Ustaw P111:",1,"[Hz]");
				  break;
			  }
			  case 12:
			  {
				  ustaw_parametr("Ustaw P112:",1,"");
				  break;
			  }
			  case 13:
			  {
				  ustaw_parametr("Ustaw P113:",0,"");
				  break;
			  }
			  case 14:
			  {
				  ustaw_parametr("Ustaw P201:",1,"[kW]");
				  break;
			  }
			  case 15:
			  {
				  ustaw_parametr("Ustaw P202:",0,"[V]");
				  break;
			  }
			  case 16:
			  {
				  ustaw_parametr("Ustaw P203:",1,"[A]");
				  break;
			  }
			  case 17:
			  {
				  ustaw_parametr("Ustaw P204:",0,"[obr/m]");
				  break;
			  }
			  case 18:
			  {
				  ustaw_parametr("Ustaw P205:",0,"[ohm]");
				  break;
			  }
			  case 19:
			  {
				  ustaw_parametr("Ustaw P206:",0,"[ohm]");
				  break;
			  }
			  case 20:
			  {
				  ustaw_parametr("Ustaw P207:",0,"[ohm]");
				  break;
			  }
			  case 21:
			  {
				  ustaw_parametr("Ustaw P208:",0,"[ohm]");
				  break;
			  }
			  case 22:
			  {
				  ustaw_parametr("Ustaw P209:",0,"[ohm]");
				  break;
			  }
			  case 23:
			  {
				  ustaw_parametr("Ustaw P210:",0,"");
				  break;
			  }
			  case 24:
			  {
				  ustaw_parametr("Ustaw P211:",0,"[Hz]");
				  break;
			  }
			  case 25:
			  {
				  ustaw_parametr("Ustaw P212:",0,"[Hz]");
				  break;
			  }
			  case 26:
			  {
				  ustaw_parametr("Ustaw P213:",0,"[Hz]");
				  break;
			  }
			  case 27:
			  {
				  ustaw_parametr("Ustaw P214:",2,"");
				  break;
			  }

		  }
	  }

}
//3 KOLEJNE FUNKCJE ODPOWIADAJA ZA KONWERSJE FLOAT NA STRING!!

// reverses a string 'str' of length 'len'
void reverse(char *str, int len)
{
    int i = 0, j = len - 1, temp;
    while (i<j)
    {
        temp = str[i];
        str[i] = str[j];
        str[j] = temp;
        i++;
        j--;
    }
}

 // Converts a given integer x to string str[].  d is the number
 // of digits required in output. If d is more than the number
 // of digits in x, then 0s are added at the beginning.
int intToStr(int x, char str[], int d)
{
    int i = 0;
    while (x)
    {
        str[i++] = (x%10) + '0';
        x = x / 10;
    }

    // If number of digits required is more, then
    // add 0s at the beginning
    while (i < d)
        str[i++] = '0';

    reverse(str, i);
    str[i] = '\0';
    return i;
}

// Converts a floating point number to string.
void ftoa(float n, char *res, int afterpoint)
{

	int powerr = 1;
	int k = 0;
	while(k < afterpoint)
	{
	powerr = powerr * 10;
	k++;
	}
    // Extract integer part
    int ipart = (int)n;

    // Extract floating part
    float fpart = n - (float)ipart;

    // convert integer part to string
    int i = intToStr(ipart, res, 0);
	if(n < 1)
	res[i] = '0';
    // check for display option after point
    if (afterpoint != 0)
    {

        res[i] = '.';  // add dot

        // Get the value of fraction part upto given no.
        // of points after dot. The third parameter is needed
        // to handle cases like 233.007

        fpart = fpart * powerr;

        intToStr((int)fpart, res + i + 1, afterpoint);
    	if(n < 1)
    	{
    	res[i] = '0';
    	res[i+1] = '.';
        intToStr((int)fpart, res + i +2, afterpoint);
    	}
    }
}

// KONIEC FUNKCJI KONWERTUJACYCH FLOAT NA STRING!

void HAL_SYSTICK_Callback()
{
	static int beka = 0, y = 0;
	static uint8_t Data[3];
	float x = 0;

	++beka;

	if(beka >= 80)
	{
		beka = 0;
		if(y == 0)
		{
			Data[0] = 111;
			if(fpom >= 256)
			{
				Data[1] = fpom - 255;
				Data[2] = 255;
			}
			else{
				Data[1] = fpom;
				Data[2] = 0;
			}
			++y;
		}
		else if(y == 1)
		{
			Data[0] = 51;
			Data[1] = 0;
			Data[2] = (int)Temp;
			++y;
		}
		else if(y == 2)
		{
			if((int)DCV >= 256)
			{
				Data[1] = (int)DCV - 255;
				Data[2] = 255;
			}
			else{
				Data[1] = (int)DCV;
				Data[2] = 0;
			}
			++y;
		}
		else if(y == 3)
		{
			Data[0] = 53;
			if((int)DCI >= 256)
			{
				Data[1] = (int)DCI - 255;
				Data[2] = 255;
			}
			else{
				Data[1] = (int)DCI;
				Data[2] = 0;
			}
			y = 0;
		}

		deltaf = param[11];
		x = 10 * param[10];
		fzad = (int)x;
		kierunekzad = (int)param[12];
		boost = param[6] / 100;
		ma = param[9] / 400.0;
		TIMEtoRAMPup = param[0];
		TIMEtoRAMPdown = param[1];
		ksztalt = param[7];

		if(ma != ma_old)
		{
			ZmianaMA(ksztalt, &param[10], ma, boost);
			ma_old = ma;
		}

		HAL_UART_Transmit_DMA(&huart6, Data, sizeof(Data));

	}

////////////////////////////////////////////////////////////////////////////////
	//drganie stykow
	y2++;
	if(y2 >= 60)
	{
	key.byte=(key.byte<<4);// przesuwaj¹c w lew¹ stronê bity z do³u uzupe³niane s¹ zerami
	//ustawienie jedynek na pozycjach od 0 do 3 w przypadku odczytania zer z odpowiednich wejœæ KEYx
		key.byte|=((HAL_GPIO_ReadPin(Button_GPIO_Port, Button_Pin)==GPIO_PIN_SET)|((HAL_GPIO_ReadPin(ENC_Button_GPIO_Port, ENC_Button_Pin)==GPIO_PIN_SET)<<1)|((HAL_GPIO_ReadPin(Button_1_GPIO_Port, Button_1_Pin)==GPIO_PIN_SET)<<2)|((HAL_GPIO_ReadPin(Button_2_GPIO_Port, Button_2_Pin)==GPIO_PIN_SET)<<3));
		falling_slope.word=(falling_slope.word<<4);

	if(key.flags.ENC_Button)
	{  //czy wciœniêty jest przycisk Button?
		if(!key.flags.ENC_Button_PREV)
			falling_slope.flags.ENC_Button=1; //Czy wykryto zbocze opadaj¹ce
		if(falling_slope.flags.ENC_Button_PREV6)
		{
				if(keylock == 0)
					keylock = 1;
				czysc_ekran = 1;
				if(menu[0] == 0 && menu[1] == 0)
					menu[0] = 1;
				else if(menu[0] == 1)
					menu[0] = 2;
				else if(menu[0] == 2)
					zapisano = 1;

				if(menu[0] == 0 && menu[1] == 1)
					menu[0] = 4;

				if(menu[0] == 3){
					param[10] = f_zad;
				}
		}
	}

	if(key.flags.Button){  //czy wciœniêty jest przycisk Button?
		if(!key.flags.Button_PREV)
			falling_slope.flags.Button = 1; //Czy wykryto zbocze opadaj¹ce
		if(falling_slope.flags.Button_PREV6)
		{
			if(keylock == 0)
			{
				keylock = 1;
				czysc_ekran = 1;
				if(menu[0] == 1)
					menu[2] = 1;
				if(menu[0] < 3)
					menu[0] --;
				if(menu[0] < 0)
					menu[0] = 0;
				if(menu[0] == 3)
					menu[0] = 0;
				if(menu[0] == 4)
					menu[0] = 0;
			}
		}
	}
		if(key.flags.Button_1)
		{  //czy wciœniêty jest przycisk Button?
			if(!key.flags.Button_1_PREV)
				falling_slope.flags.Button_1=1; //Czy wykryto zbocze opadaj¹ce
			if(falling_slope.flags.Button_1_PREV6)
			{
				if(menu[0] == 0)
				{
					status = 1;
					czysc_ekran = 1;
					menu[0] = 3;
				}
			}
		}
			if(key.flags.Button_2)
			{  //czy wciœniêty jest przycisk Button?
				if(!key.flags.Button_2_PREV)
					falling_slope.flags.Button_2 = 1; //Czy wykryto zbocze opadaj¹ce
				if(falling_slope.flags.Button_2_PREV6)
				{

						czysc_ekran = 1;
						status = 0;
						menu[0] = 0;
						param[10] = 0;
				}
			}
		y2 = 0;
	}

	//////////////////////////////////////////////////////////////////

	++ZP2;

	if(start == 1)
	{
		if(fzad!=fzad_old)
		{
			ZP2 = 0;
			CzasRampy(fzad, &fzad_old, TIMEtoRAMPup, TIMEtoRAMPdown, &ZP3, deltaf);
		}

		if(ZP2 % ZP3 == 0)
		{
			RampaLiniowaF(fzad, fpom, &f, deltaf);
			if(boost != boost_old)
			{
				RampaGladkaMA(boost, RampG);
				RampaLiniowaMA(boost, RampL);
				boost_old=boost;
			}
			SterowanieUdoF(ksztalt, f, Usin, UsinRAMPA, 120, boost, fpom, RampL, RampG);
		}
	}
	Tworzenie_Rampy_U_do_F(Rampa, Rampa_U_do_F, param[6], &boost_old, 120);
	f_old = Rampa_Gladka(param[7], param[6], f, f_old, Usin, UsinRAMPA, Rampa, Rampa_U_do_F, 120);

	Temp = Pomiary_TEMP_DCV(Pomiary, &DCV, &y125);
	DCI = Pomiar_DCI(TABDCI, Pomiary);

	f = RampaGladkaF(&n, &m, param[2], param[3], f, param[10], &fzad_old, param[0], param[1], Rampa, 120);
}

void HAL_TIM_PeriodElapsedCallback(TIM_HandleTypeDef *htim)
{

	float fchwilowe = 0;

	if(htim->Instance == TIM10)
	{
		++ZP1;

		fchwilowe = 10 * f;
		fpom = (int)fchwilowe;

		ZmianaKierunku(&kierunek, kierunekzad, &param[10], f);

		if((ZP1 >= Timer[fpom]) && (f != 0))
		{
			PWM(UsinRAMPA, &n1, 120, kierunek);
			ZP1 = 0;
		}
	}
}

void HAL_UART_RxCpltCallback(UART_HandleTypeDef *huart) {

	if(Received[0]=='1'){
		if(Received[1]=='0'){
			if(Received[2]=='1')	ZP4=0;			//Czas rampy rosn¹cej
			else if(Received[2]=='2')	ZP4=1;		//Czas rampy opadaj¹cej
			else if(Received[2]=='3')	ZP4=2;		//Kszta³t rampy rosn¹cej
			else if(Received[2]=='4')	ZP4=3;		//Kszta³t rampy opadaj¹cej
			else if(Received[2]=='5')	ZP4=4;		//Tryb zatrzymania
			else if(Received[2]=='6')	ZP4=5;		//Ograniczenie pr¹du
			else if(Received[2]=='7')	ZP4=6;		//Boost
			else if(Received[2]=='8')	ZP4=7;		//Kszta³t U/f
			else if(Received[2]=='9')	ZP4=8;		//Prêdkoœæ obrotowa
			}
			else if(Received[1]=='1'){
				if(Received[2]=='0')	ZP4=9;			//Napiêcie
				else if(Received[2]=='1')	ZP4=10;		//Fzad
				else if(Received[2]=='2')	ZP4=11;		//deltaf
				else if(Received[2]=='3')	ZP4=12;		//kierunek obrotu
			}
	}
	else if(Received[0]=='2'){
		if(Received[1]=='0'){
			if(Received[2]=='1')	ZP4=13;			//Moc znamionowa
			else if(Received[2]=='2')	ZP4=14;		//Napiêcie znamionowe przewodowe
			else if(Received[2]=='3')	ZP4=15;		//Pr¹d znamionowy
			else if(Received[2]=='4')	ZP4=16;		//Znamionowa prêdkoœæ
			else if(Received[2]=='5')	ZP4=17;		//Rs rezystancja stojana
			else if(Received[2]=='6')	ZP4=18;		//Rr rezystancja wirnika
			else if(Received[2]=='7')	ZP4=19;		//Ls indukcyjnosc rozproszenia stojana
			else if(Received[2]=='8')	ZP4=20;		//Lr indukcyjnosc rozproszenia wirnika
			else if(Received[2]=='9')	ZP4=21;		//Lm indukcyjnoœæ magnesowania
		}
		else if(Received[1]=='1'){
			if(Received[2]=='0')	ZP4=22;			//p liczba par biegunów
			else if(Received[2]=='1')	ZP4=23;		//czestotliwosc znamionowa
			else if(Received[2]=='2')	ZP4=24;		//czestotliwosc min
			else if(Received[2]=='3')	ZP4=25;		//czestotliwosc max
			else if(Received[2]=='4')	ZP4=26;		//cos_fi
		}
	}

	if(ZP4==0||ZP4==1||ZP4==11||ZP4==13||ZP4==15||ZP4==17||ZP4==18||ZP4==19||ZP4==20||ZP4==21||ZP4==26||ZP4==10){
		param[ZP4]=1000*(Received[3]-48)+100*(Received[4]-48)+10*(Received[5]-48)+(Received[6]-48)+0.1*(Received[7]-48);
	}
	else if(ZP4==2||ZP4==3||ZP4==4||ZP4==5||ZP4==6||ZP4==7||ZP4==8||ZP4==9||ZP4==12||ZP4==14||ZP4==16||ZP4==22||ZP4==23||ZP4==24||ZP4==25){
		param[ZP4]=10000*(Received[3]-48)+1000*(Received[4]-48)+100*(Received[5]-48)+10*(Received[6]-48)+(Received[7]-48);
	}

	HAL_UART_Receive_DMA(&huart6, Received, 8);
}
/* USER CODE END 4 */

void _Error_Handler(char *file, int line)
{
  while(1)
  {
  }
}

/************************ (C) COPYRIGHT STMicroelectronics *****END OF FILE****/
